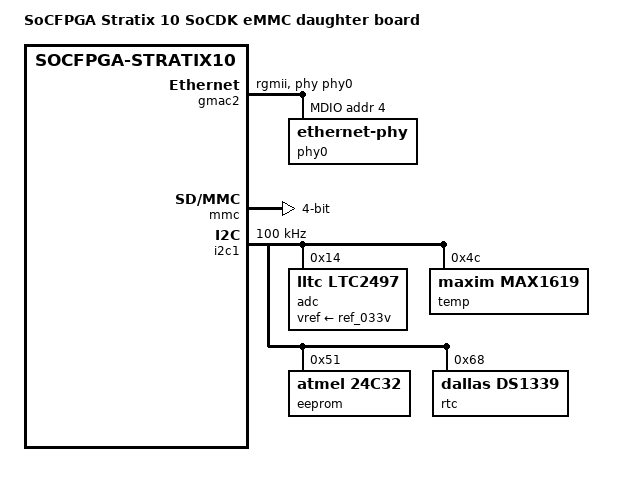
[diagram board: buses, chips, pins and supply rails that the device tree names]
// SPDX-License-Identifier: GPL-2.0-only
/*
 * Copyright Altera Corporation (C) 2026. All rights reserved.
 */

#include "socfpga_stratix10_socdk.dtsi"

/ {
	model = "SoCFPGA Stratix 10 SoCDK eMMC daughter board";
	compatible = "altr,socfpga-stratix10-socdk-emmc",
			"altr,socfpga-stratix10-socdk",
			"altr,socfpga-stratix10";
};

&pinctrl0 {
	i2c1_pmx_func: i2c1-pmx-func-pins {
		pinctrl-single,pins = <
			0x78   0x4   /* I2C1_SDA (IO6) PIN30SEL) */
			0x7c   0x4   /* I2C1_SCL (IO7) PIN31SEL */
		>;
	};

	i2c1_pmx_func_gpio: i2c1-pmx-func-gpio-pins {
		pinctrl-single,pins = <
			0x78   0x8   /* I2C1_SDA (IO6) PIN30SEL) */
			0x7c   0x8   /* I2C1_SCL (IO7) PIN31SEL */
		>;
	};
};

&gmac2 {
	status = "okay";
	/* PHY delays is configured via skew properties */
	phy-mode = "rgmii";
	phy-handle = <&phy0>;

	max-frame-size = <9000>;

	mdio0 {
		#address-cells = <1>;
		#size-cells = <0>;
		compatible = "snps,dwmac-mdio";
		phy0: ethernet-phy@4 {
			reg = <4>;

			txd0-skew-ps = <0>; /* -420ps */
			txd1-skew-ps = <0>; /* -420ps */
			txd2-skew-ps = <0>; /* -420ps */
			txd3-skew-ps = <0>; /* -420ps */
			rxd0-skew-ps = <420>; /* 0ps */
			rxd1-skew-ps = <420>; /* 0ps */
			rxd2-skew-ps = <420>; /* 0ps */
			rxd3-skew-ps = <420>; /* 0ps */
			txen-skew-ps = <0>; /* -420ps */
			txc-skew-ps = <900>; /* 0ps */
			rxdv-skew-ps = <420>; /* 0ps */
			rxc-skew-ps = <1680>; /* 780ps */
		};
	};
};

&mmc {
	status = "okay";
	cap-mmc-highspeed;
	broken-cd;
	bus-width = <4>;
	clk-phase-sd-hs = <0>, <135>;
};

&i2c1 {
	status = "okay";
	clock-frequency = <100000>;
	i2c-sda-falling-time-ns = <890>;  /* hcnt */
	i2c-scl-falling-time-ns = <890>;  /* lcnt */

	pinctrl-names = "default", "gpio";
	pinctrl-0 = <&i2c1_pmx_func>;
	pinctrl-1 = <&i2c1_pmx_func_gpio>;

	adc@14 {
		compatible = "lltc,ltc2497";
		reg = <0x14>;
		vref-supply = <&ref_033v>;
	};

	temp@4c {
		compatible = "maxim,max1619";
		reg = <0x4c>;
	};

	eeprom@51 {
		compatible = "atmel,24c32";
		reg = <0x51>;
		pagesize = <32>;
	};

	rtc@68 {
		compatible = "dallas,ds1339";
		reg = <0x68>;
	};
};
